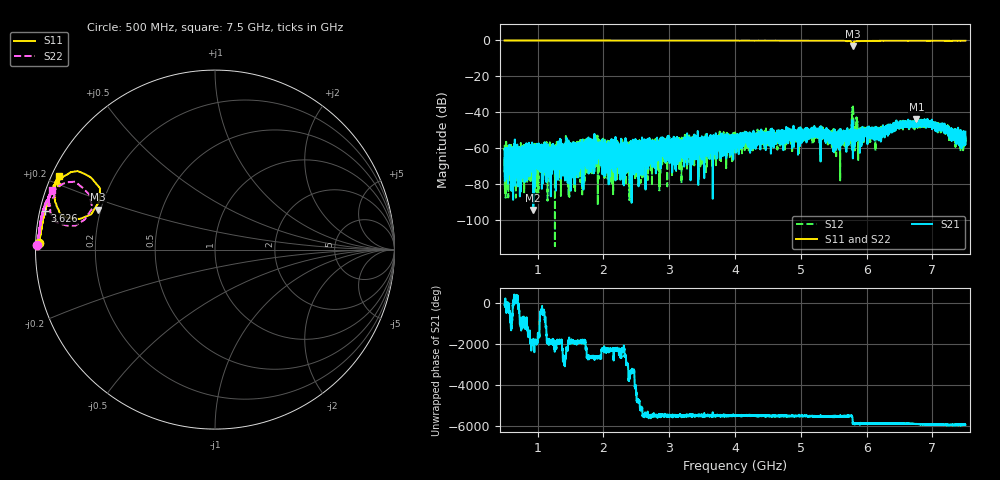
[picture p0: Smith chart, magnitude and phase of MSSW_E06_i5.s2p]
!Keysight Technologies,M9374A,MY55442783,A.12.55.05
!Date: Thursday, May 20, 2021 14:53:57
!Correction: S11(Full 2 Port(1,2))
!S21(Full 2 Port(1,2))
!S12(Full 2 Port(1,2))
!S22(Full 2 Port(1,2))
!S2P File: Measurements: S11, S21, S12, S22:
# Hz S  RI  R 50
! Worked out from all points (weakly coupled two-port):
!   7001 points, 500 MHz to 7.5 GHz, reference 50 ohm
!   highest |S21| = -43.73 dB at 6.757 GHz (marker M1); lowest = -94.4 dB at 936 MHz (marker M2)
!   lowest |S11| = -3.2 dB at 5.786 GHz (marker M3), VSWR 5.43, Z = 9.46 + j8.03 ohm
!   |S11| at or under -10 dB: nowhere
!   |S22| runs from -2.9 to -0.1 dB; largest |S21 - S12| = 0.014
!   S11 on the Smith chart (normalised r, x): 500 MHz: 0.01, +0.02; 3.626 GHz: 0.01, +0.11; 7.5 GHz: 0.02, +0.22
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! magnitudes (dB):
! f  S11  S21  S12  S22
! 500 MHz  -0.2  -61.3  -59.6  -0.1
! 539 MHz  -0.1  -65.1  -65.4  -0.1
! 936 MHz  -0.2  -94.4  -63.9  -0.1
! 1.667 GHz  -0.2  -65.7  -76.1  -0.1
! 1.855 GHz  -0.2  -60.9  -66.2  -0.1
! 1.915 GHz  -0.2  -56.7  -91.6  -0.1
! 2.126 GHz  -0.2  -64.2  -65.6  -0.1
! 2.398 GHz  -0.2  -61.8  -61.9  -0.1
! 2.834 GHz  -0.2  -60.6  -65.6  -0.1
! 3.626 GHz  -0.2  -57.4  -54.0  -0.1
! 4 GHz  -0.2  -53.8  -60.4  -0.2
! 5.167 GHz  -0.3  -51.6  -50.8  -0.2
! 5.632 GHz  -0.3  -52.7  -52.6  -0.2
! 5.735 GHz  -0.4  -54.7  -53.9  -0.4
! 5.766 GHz  -0.9  -53.7  -51.1  -0.8
! 5.786 GHz  -3.2  -53.8  -37.3  -2.8
! 5.903 GHz  -0.5  -54.3  -49.2  -0.4
! 6.334 GHz  -0.3  -50.7  -48.1  -0.3
! 6.757 GHz  -0.3  -43.7  -45.8  -0.3
! 7.148 GHz  -0.3  -49.1  -47.6  -0.3
! 7.444 GHz  -0.3  -54.3  -57.0  -0.3
! 7.5 GHz  -0.3  -50.8  -53.9  -0.3
